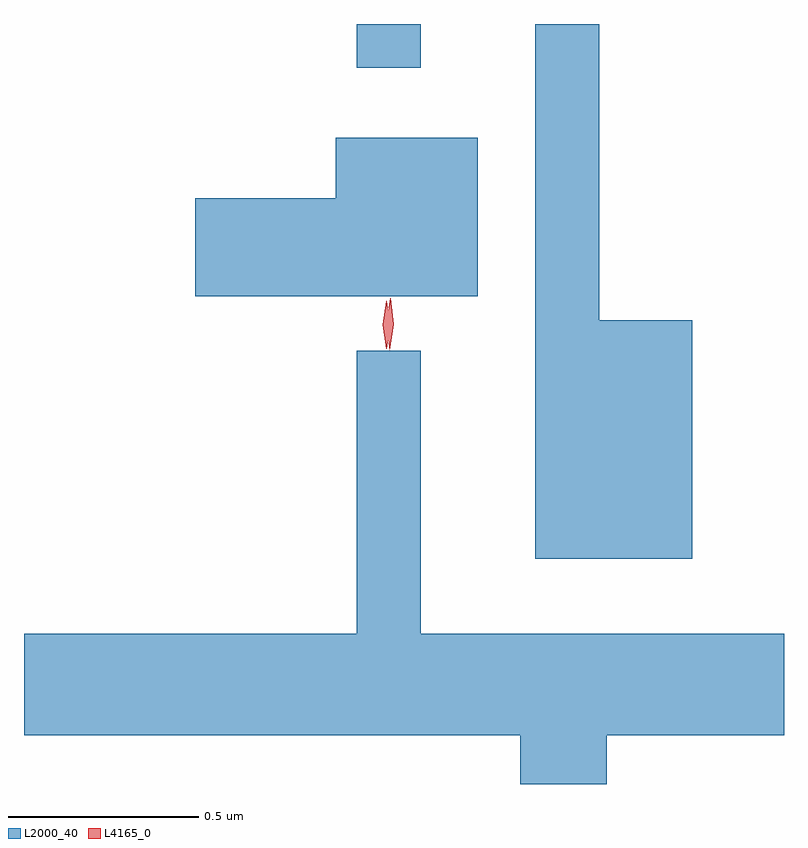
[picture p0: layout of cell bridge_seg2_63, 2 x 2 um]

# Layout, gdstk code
import gdstk
lib = gdstk.Library(unit=1e-6, precision=1e-09)
def R(c, l, rs):  # rectangles x0, y0, x1, y1
    for r in rs: c.add(gdstk.rectangle(r[:2], r[2:], *l))
def P(c, l, *ps):  # polygons
    for p in ps: c.add(gdstk.Polygon(p, *l))
L2000_40 = (2000, 40)
L4165_0 = (4165, 0)

bridge_seg2_63 = lib.new_cell('bridge_seg2_63')
R(bridge_seg2_63, L2000_40, [(1131.471,1072.273,1131.639,1072.388)])
P(bridge_seg2_63, L2000_40, [(1132.354,1071.609),(1132.109,1071.609),(1132.109,1072.388),(1131.941,1072.388),(1131.941,1070.981),(1132.354,1070.981)],
  [(1131.789,1072.089),(1131.416,1072.089),(1131.416,1071.929),(1131.046,1071.929),(1131.046,1071.671),(1131.789,1071.671)],
  [(1131.639,1071.528),(1131.471,1071.528),(1131.471,1070.784),(1130.595,1070.784),(1130.595,1070.516),(1131.901,1070.516),(1131.901,1070.388),(1132.129,1070.388),(1132.129,1070.516),(1132.595,1070.516),(1132.595,1070.784),(1131.639,1070.784)])
P(bridge_seg2_63, L4165_0, [(1131.557,1071.53),(1131.548,1071.598),(1131.559,1071.666),(1131.559,1071.666),(1131.56,1071.666),(1131.568,1071.598),(1131.558,1071.53),(1131.558,1071.53)],
  [(1131.548,1071.533),(1131.539,1071.596),(1131.548,1071.659),(1131.548,1071.66),(1131.549,1071.659),(1131.559,1071.596),(1131.55,1071.533),(1131.549,1071.533)])

lib.write_gds('bridge_seg2_63.gds')
